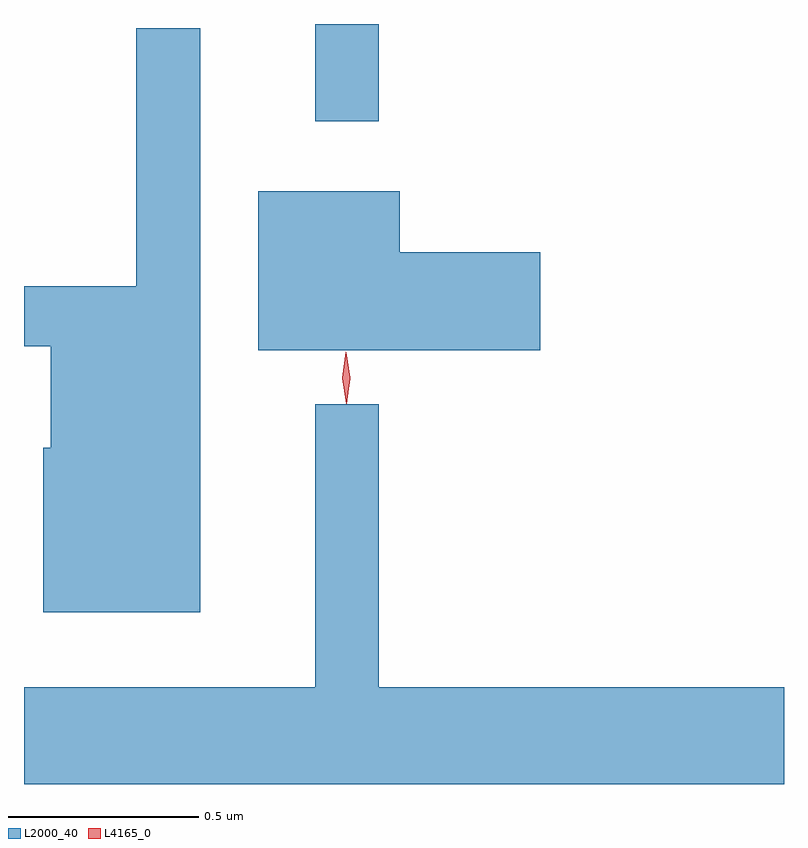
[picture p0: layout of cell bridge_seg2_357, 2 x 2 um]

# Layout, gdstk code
import gdstk
lib = gdstk.Library(unit=1e-6, precision=1e-09)
def R(c, l, rs):  # rectangles x0, y0, x1, y1
    for r in rs: c.add(gdstk.rectangle(r[:2], r[2:], *l))
def P(c, l, *ps):  # polygons
    for p in ps: c.add(gdstk.Polygon(p, *l))
L2000_40 = (2000, 40)
L4165_0 = (4165, 0)

bridge_seg2_357 = lib.new_cell('bridge_seg2_357')
R(bridge_seg2_357, L2000_40, [(440.601,1023.433,440.769,1023.689)])
P(bridge_seg2_357, L2000_40, [(440.299,1023.678),(440.131,1023.678),(440.131,1022.999),(439.835,1022.999),(439.835,1022.841),(439.906,1022.841),(439.906,1022.574),(439.886,1022.574),(439.886,1022.141),(440.299,1022.141)],
  [(441.194,1023.089),(440.824,1023.089),(440.824,1023.249),(440.451,1023.249),(440.451,1022.831),(441.194,1022.831)],
  [(441.835,1021.944),(440.769,1021.944),(440.769,1022.688),(440.601,1022.688),(440.601,1021.944),(439.835,1021.944),(439.835,1021.689),(441.835,1021.689)])
P(bridge_seg2_357, L4165_0, [(440.683,1022.69),(440.683,1022.69),(440.673,1022.758),(440.682,1022.825),(440.682,1022.826),(440.683,1022.825),(440.693,1022.758),(440.684,1022.69)],
  [(440.683,1022.693),(440.683,1022.693),(440.673,1022.756),(440.682,1022.82),(440.683,1022.82),(440.683,1022.82),(440.693,1022.756),(440.684,1022.693)])

lib.write_gds('bridge_seg2_357.gds')
